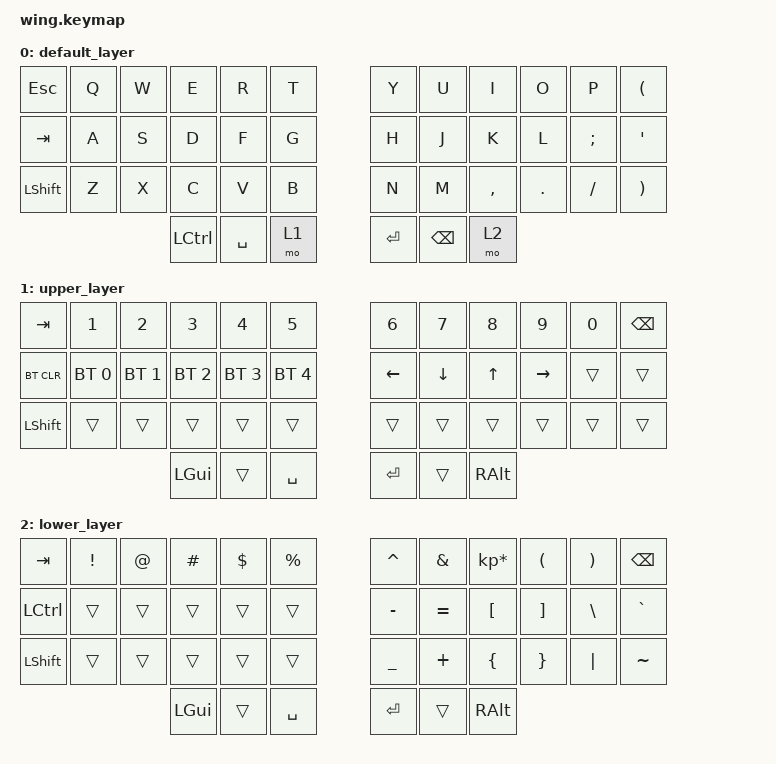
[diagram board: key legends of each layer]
/*
 * Copyright (c) 2021 The ZMK Contributors
 *
 * SPDX-License-Identifier: MIT
 */

#include <behaviors.dtsi>
#include <dt-bindings/zmk/keys.h>
#include <dt-bindings/zmk/bt.h>

/ {
    keymap {
        compatible = "zmk,keymap";

        default_layer {
            bindings = <
   &kp ESC   &kp Q &kp W &kp E &kp R &kp T    &kp Y &kp U  &kp I     &kp O   &kp P    &kp LPAR
   &kp TAB   &kp A &kp S &kp D &kp F &kp G    &kp H &kp J  &kp K     &kp L   &kp SEMI &kp SQT
   &kp LSHFT &kp Z &kp X &kp C &kp V &kp B    &kp N &kp M  &kp COMMA &kp DOT &kp FSLH &kp RPAR
                  &kp LCTRL &kp SPACE &mo 1   &kp RET &kp BSPC &mo 2
            >;
        };

        upper_layer {
            bindings = <
   &kp TAB    &kp N1       &kp N2       &kp N3       &kp N4       &kp N5         &kp N6   &kp N7   &kp N8 &kp N9    &kp N0 &kp BSPC
   &bt BT_CLR &bt BT_SEL 0 &bt BT_SEL 1 &bt BT_SEL 2 &bt BT_SEL 3 &bt BT_SEL 4   &kp LEFT &kp DOWN &kp UP &kp RIGHT &trans &trans
   &kp LSHFT  &trans       &trans       &trans       &trans       &trans         &trans   &trans   &trans &trans    &trans &trans
                          	        &kp LGUI     &trans       &kp SPACE      &kp RET  &trans   &kp RALT
            >;
        };

        lower_layer {
            bindings = <
   &kp  TAB  &kp EXCL &kp AT &kp HASH &kp DLLR &kp PRCNT   &kp CARET &kp AMPS  &kp KP_MULTIPLY &kp LPAR &kp RPAR &kp BSPC
   &kp LCTRL &trans   &trans &trans   &trans   &trans      &kp MINUS &kp EQUAL &kp LBKT        &kp RBKT &kp BSLH &kp GRAVE
   &kp LSHFT &trans   &trans &trans   &trans   &trans      &kp UNDER &kp PLUS  &kp LBRC        &kp RBRC &kp PIPE &kp TILDE
                    	     &kp LGUI &trans   &kp SPACE   &kp RET   &trans    &kp RALT
            >;
        };
    };
};
